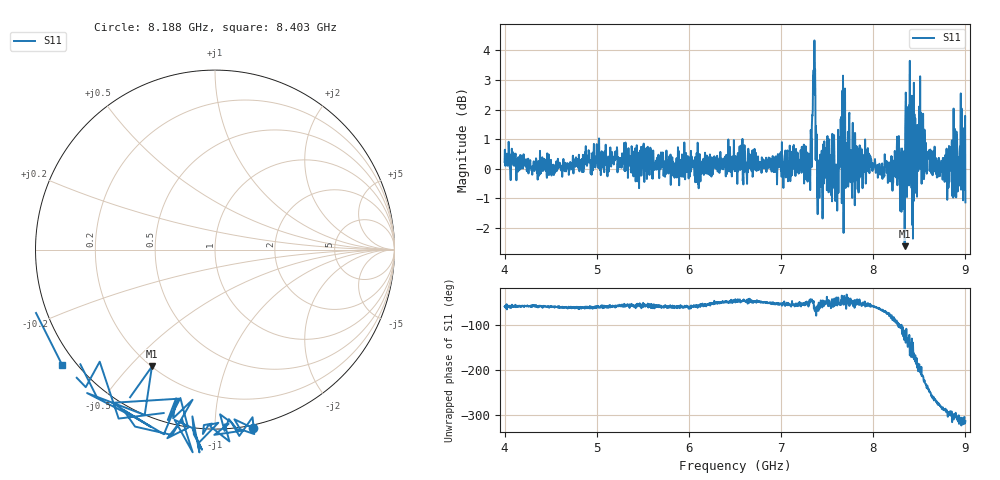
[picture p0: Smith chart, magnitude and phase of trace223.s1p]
! Created with skrf 1.8.0 (http://scikit-rf.org).
# Hz S RI R 50.0
!freq ReS11 ImS11
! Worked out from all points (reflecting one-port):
!   1601 points, 4 GHz to 9 GHz, reference 50 ohm
!   lowest |S11| = -2.6 dB at 8.341 GHz (marker M1), VSWR 6.69, Z = 10.1 - j28.9 ohm
!   phase of S11 starts at -58 deg and turns -255 deg over the sweep
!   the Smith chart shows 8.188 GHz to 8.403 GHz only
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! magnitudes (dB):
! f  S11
! 4 GHz  0.2
! 4.625 GHz  -0.3
! 5.25 GHz  0.0
! 5.875 GHz  -0.1
! 6.5 GHz  0.3
! 7.125 GHz  0.5
! 7.294 GHz  -0.1
! 7.319 GHz  0.6
! 7.347 GHz  3.1
! 7.362 GHz  4.3
! 7.397 GHz  -1.5
! 7.416 GHz  -1.0
! 7.503 GHz  1.1
! 7.609 GHz  -1.4
! 7.65 GHz  1.2
! 7.703 GHz  -0.6
! 7.75 GHz  -0.1
! 8.184 GHz  -0.3
! 8.259 GHz  1.1
! 8.316 GHz  0.3
! 8.341 GHz  -2.6
! 8.375 GHz  2.1
! 8.425 GHz  -0.3
! 8.522 GHz  1.6
! 8.575 GHz  0.3
! 8.712 GHz  0.4
! 8.972 GHz  0.6
! 9 GHz  -1.1
